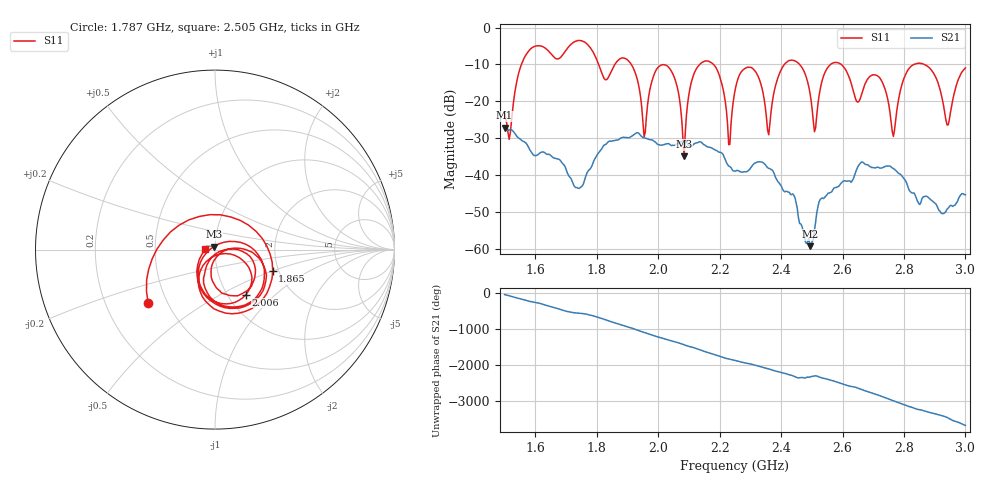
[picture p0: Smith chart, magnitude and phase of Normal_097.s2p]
# HZ S RI R 50
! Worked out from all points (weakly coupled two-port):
!   404 points, 1.5 GHz to 3 GHz, reference 50 ohm
!   highest |S21| = -27.16 dB at 1.5 GHz (marker M1); lowest = -59.3 dB at 2.494 GHz (marker M2)
!   lowest |S11| = -34.9 dB at 2.084 GHz (marker M3), VSWR 1.04, Z = 49.3 + j1.64 ohm
!   |S11| at or under -10 dB: 1.912 GHz to 2.135 GHz (223 MHz wide, 11 % of centre); 2.18 GHz to 2.411 GHz (230.8 MHz wide, 10.1 % of centre); 2.596 GHz to 2.832 GHz (236.5 MHz wide, 8.72 % of centre) (the widest 3 of 7)
!   S12 and S22 are empty: the file has one direction only
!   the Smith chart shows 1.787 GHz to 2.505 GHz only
!   S11 on the Smith chart (normalised r, x): 1.787 GHz: 0.39, -0.30; 1.865 GHz: 1.86, -0.50; 2.006 GHz: 1.21, -0.67; 2.505 GHz: 0.90, +0.00
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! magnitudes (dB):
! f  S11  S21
! 1.5 GHz  -23.4  -27.2
! 1.586 GHz  -5.7  -33.6
! 1.753 GHz  -3.6  -42.9
! 1.787 GHz  -6.4  -37.0
! 1.865 GHz  -9.3  -30.5
! 1.954 GHz  -29.7  -29.9
! 2.002 GHz  -10.6  -31.8
! 2.006 GHz  -10.3  -31.9
! 2.084 GHz  -34.9  -30.7
! 2.14 GHz  -9.6  -31.1
! 2.23 GHz  -31.8  -37.5
! 2.252 GHz  -16.3  -39.0
! 2.367 GHz  -22.9  -38.5
! 2.423 GHz  -9.1  -44.6
! 2.494 GHz  -17.6  -59.3
! 2.501 GHz  -22.2  -58.0
! 2.505 GHz  -25.4  -57.5
! 2.576 GHz  -9.5  -43.4
! 2.751 GHz  -20.9  -37.6
! 2.859 GHz  -9.8  -46.4
! 2.944 GHz  -26.4  -48.9
! 3 GHz  -10.9  -45.3
